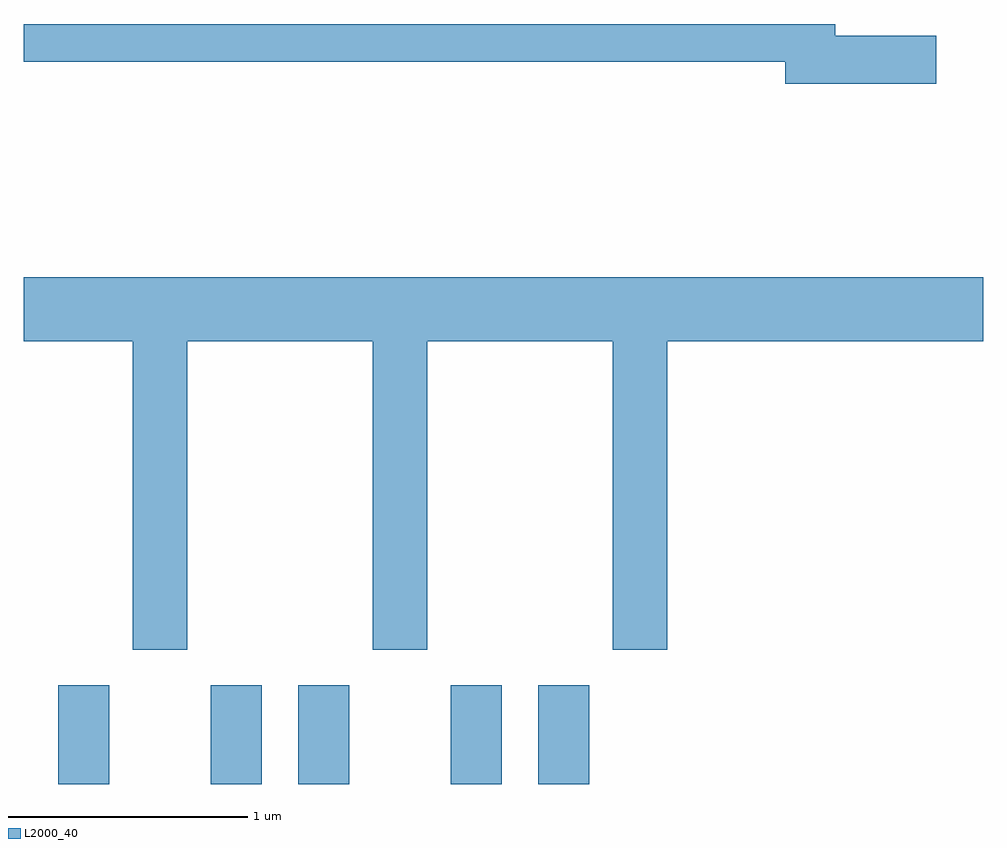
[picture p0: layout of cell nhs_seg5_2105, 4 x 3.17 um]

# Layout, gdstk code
import gdstk
lib = gdstk.Library(unit=1e-6, precision=1e-09)
def R(c, l, rs):  # rectangles x0, y0, x1, y1
    for r in rs: c.add(gdstk.rectangle(r[:2], r[2:], *l))
def P(c, l, *ps):  # polygons
    for p in ps: c.add(gdstk.Polygon(p, *l))
L2000_40 = (2000, 40)

nhs_seg5_2105 = lib.new_cell('nhs_seg5_2105')
R(nhs_seg5_2105, L2000_40, [(247.756,1446.072,247.969,1446.484), (248.391,1446.072,248.604,1446.484), (248.756,1446.072,248.969,1446.484), (249.391,1446.072,249.604,1446.484), (249.756,1446.072,249.969,1446.484)])
P(nhs_seg5_2105, L2000_40, [(251.414,1449.189),(250.994,1449.189),(250.994,1449.239),(247.611,1449.239),(247.611,1449.081),(250.786,1449.081),(250.786,1448.991),(251.414,1448.991)],
  [(247.611,1447.916),(248.066,1447.916),(248.066,1446.631),(248.294,1446.631),(248.294,1447.916),(249.066,1447.916),(249.066,1446.631),(249.294,1446.631),(249.294,1447.916),(250.066,1447.916),(250.066,1446.631),(250.294,1446.631),(250.294,1447.916),(251.611,1447.916),(251.611,1448.184),(247.611,1448.184)])

lib.write_gds('nhs_seg5_2105.gds')
